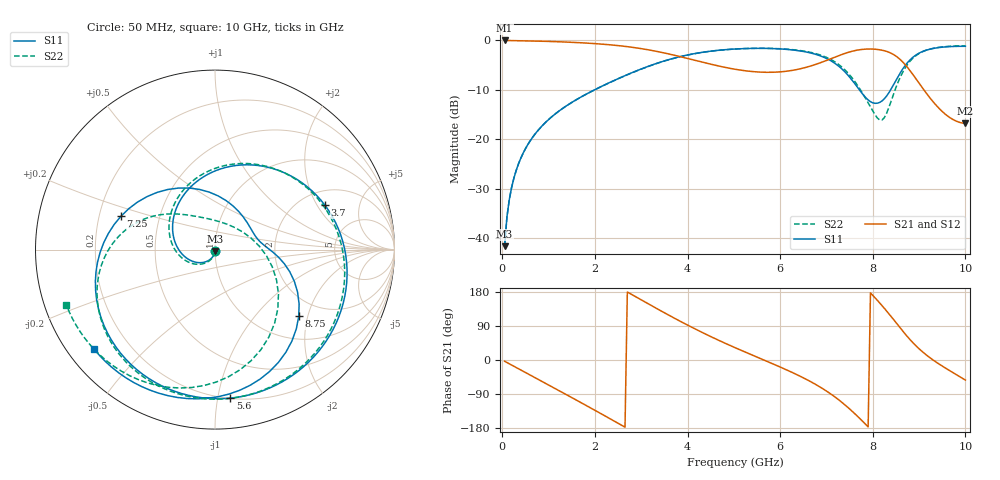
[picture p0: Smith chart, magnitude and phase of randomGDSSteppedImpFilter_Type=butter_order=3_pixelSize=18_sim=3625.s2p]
! freq	dB(S11)	phase(S11)	dB(S12)	phase(S12)
!  dB(S21)	phase(S21)	dB(S22)	phase(S22)
!S-par simulation data
#  GHz  S  DB  R 50
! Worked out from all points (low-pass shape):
!   200 points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, 50 MHz to 10 GHz, reference 50 ohm
!   highest |S21| = 0.00 dB at 50 MHz (marker M1); lowest = -16.8 dB at 10 GHz (marker M2)
!   |S21| within 3 dB of the highest: start of sweep to 3.722 GHz; 7.286 GHz to 8.474 GHz (1.189 GHz wide, 15.1 % of centre)
!   lowest |S11| = -41.6 dB at 50 MHz (marker M3), VSWR 1.02, Z = 50 - j0.833 ohm
!   |S11| at or under -10 dB: start of sweep to 1.987 GHz; 7.712 GHz to 8.384 GHz (672.1 MHz wide, 8.35 % of centre)
!   |S22| runs from -41.5 to -1.1 dB; largest |S21 - S12| = 0
!   S11 on the Smith chart (normalised r, x): 50 MHz: 1.00, -0.02; 3.7 GHz: 2.67, +2.34; 5.6 GHz: 0.20, -1.09; 7.25 GHz: 0.29, +0.16; 8.75 GHz: 1.52, -1.76; 10 GHz: 0.08, -0.36
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0.05  -41.59 -91.0  -0.00 -3.3  -0.00 -3.3  -41.55 -91.4
0.2  -29.77 -103.4  -0.03 -13.3  -0.03 -13.3  -29.78 -101.7
0.5  -21.88 -125.3  -0.08 -33.0  -0.08 -33.0  -21.89 -121.1
1.15  -14.80 -170.9  -0.24 -75.9  -0.24 -75.9  -14.80 -162.5
1.75  -11.17 148.4  -0.50 -115.9  -0.50 -115.9  -11.19 157.9
2.55  -7.52 95.6  -1.09 -170.3  -1.09 -170.3  -7.55 101.8
3.4  -4.43 40.8  -2.34 131.4  -2.34 131.4  -4.46 40.3
3.7  -3.60 21.9  -2.96 111.4  -2.96 111.4  -3.63 19.4
4.35  -2.35 -16.9  -4.46 70.7  -4.46 70.7  -2.37 -22.6
5.05  -1.72 -55.4  -5.86 31.3  -5.86 31.3  -1.72 -62.2
5.6  -1.60 -84.2  -6.42 2.5  -6.42 2.5  -1.58 -90.3
6.15  -1.81 -114.1  -6.21 -26.7  -6.21 -26.7  -1.76 -117.6
6.7  -2.63 -149.5  -5.05 -59.9  -5.05 -59.9  -2.50 -147.1
7.25  -5.10 160.5  -3.13 -103.7  -3.13 -103.7  -4.77 177.5
7.55  -7.99 120.6  -2.20 -134.7  -2.20 -134.7  -7.54 155.3
7.9  -12.03 58.3  -1.73 -176.5  -1.73 -176.5  -12.62 125.6
8.15  -12.53 19.0  -1.89 150.5  -1.89 150.5  -16.08 78.6
8.35  -10.53 1.1  -2.39 121.8  -2.39 121.8  -13.49 17.4
8.75  -4.48 -38.6  -5.46 61.4  -5.46 61.4  -4.84 -58.4
9  -2.57 -65.8  -8.64 29.6  -8.64 29.6  -2.64 -89.5
9.3  -1.63 -92.8  -12.37 0.2  -12.37 0.2  -1.60 -116.7
10  -1.18 -140.7  -16.78 -53.0  -16.78 -53.0  -1.07 -159.7
